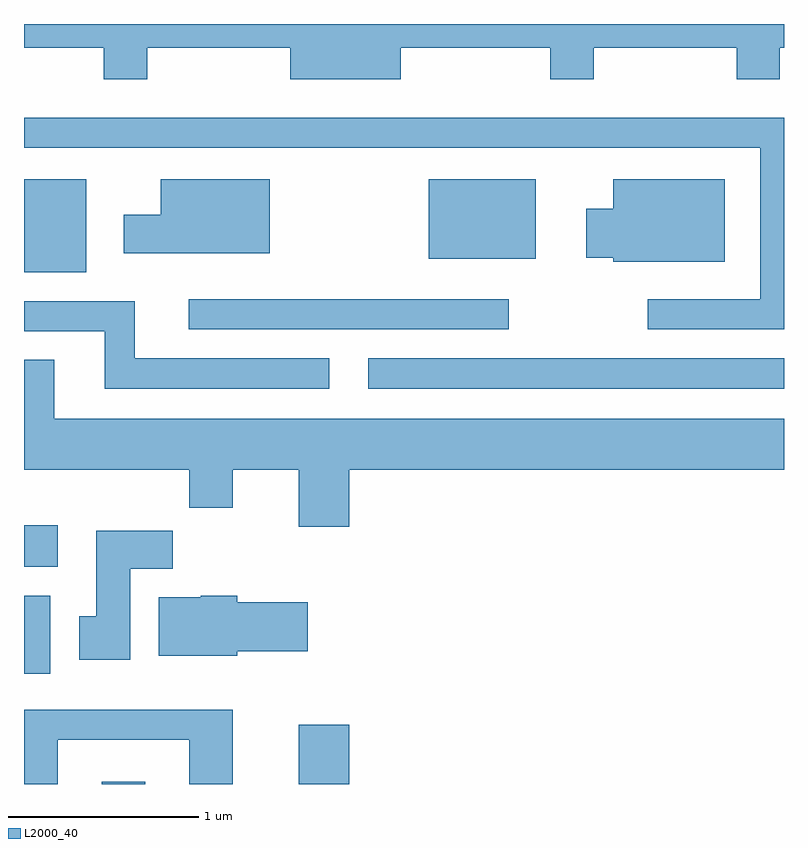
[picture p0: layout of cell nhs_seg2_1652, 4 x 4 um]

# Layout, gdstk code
import gdstk
lib = gdstk.Library(unit=1e-6, precision=1e-09)
def R(c, l, rs):  # rectangles x0, y0, x1, y1
    for r in rs: c.add(gdstk.rectangle(r[:2], r[2:], *l))
def P(c, l, *ps):  # polygons
    for p in ps: c.add(gdstk.Polygon(p, *l))
L2000_40 = (2000, 40)

nhs_seg2_1652 = lib.new_cell('nhs_seg2_1652')
R(nhs_seg2_1652, L2000_40, [(234.021,1017.802,234.249,1017.814), (235.056,1017.802,235.324,1018.114), (233.611,1018.381,233.749,1018.794), (233.611,1018.946,233.789,1019.164), (235.423,1019.881,237.611,1020.044), (234.478,1020.196,236.163,1020.354), (233.611,1020.496,233.939,1020.984), (235.741,1020.566,236.304,1020.984)])
P(nhs_seg2_1652, L2000_40, [(234.259,1021.676),(235.011,1021.676),(235.011,1021.511),(235.594,1021.511),(235.594,1021.676),(236.381,1021.676),(236.381,1021.511),(236.609,1021.511),(236.609,1021.676),(237.361,1021.676),(237.361,1021.511),(237.589,1021.511),(237.589,1021.676),(237.611,1021.676),(237.611,1021.802),(233.611,1021.802),(233.611,1021.676),(234.031,1021.676),(234.031,1021.511),(234.259,1021.511)],
  [(237.611,1021.309),(233.611,1021.309),(233.611,1021.151),(237.486,1021.151),(237.486,1020.354),(236.893,1020.354),(236.893,1020.196),(237.611,1020.196)],
  [(234.904,1020.984),(234.331,1020.984),(234.331,1020.799),(234.136,1020.799),(234.136,1020.596),(234.904,1020.596)],
  [(237.299,1020.984),(236.711,1020.984),(236.711,1020.829),(236.571,1020.829),(236.571,1020.571),(236.711,1020.571),(236.711,1020.551),(237.299,1020.551)],
  [(235.218,1020.044),(234.194,1020.044),(234.194,1020.344),(233.611,1020.344),(233.611,1020.186),(234.036,1020.186),(234.036,1019.881),(235.218,1019.881)],
  [(235.324,1019.456),(237.611,1019.456),(237.611,1019.724),(233.769,1019.724),(233.769,1020.034),(233.611,1020.034),(233.611,1019.456),(234.481,1019.456),(234.481,1019.256),(234.709,1019.256),(234.709,1019.456),(235.056,1019.456),(235.056,1019.156),(235.324,1019.156)],
  [(234.169,1018.936),(234.394,1018.936),(234.394,1019.134),(233.991,1019.134),(233.991,1018.684),(233.901,1018.684),(233.901,1018.456),(234.169,1018.456)],
  [(234.734,1018.501),(235.104,1018.501),(235.104,1018.759),(234.734,1018.759),(234.734,1018.794),(234.54,1018.794),(234.54,1018.784),(234.321,1018.784),(234.321,1018.476),(234.734,1018.476)],
  [(233.789,1018.036),(234.481,1018.036),(234.481,1017.802),(234.709,1017.802),(234.709,1018.194),(233.611,1018.194),(233.611,1017.802),(233.789,1017.802)])

lib.write_gds('nhs_seg2_1652.gds')
